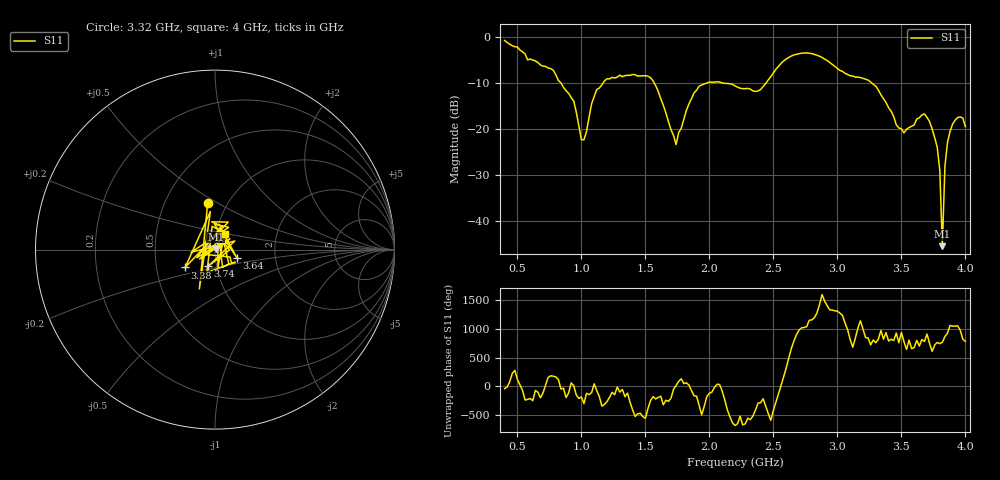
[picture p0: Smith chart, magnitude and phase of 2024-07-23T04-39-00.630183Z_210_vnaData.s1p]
!Created with skrf (http://scikit-rf.org).
# Hz S RI R 50.0
!freq ReS11 ImS11
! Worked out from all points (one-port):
!   181 points, 400 MHz to 4 GHz, reference 50 ohm
!   lowest |S11| = -45.4 dB at 3.82 GHz (marker M1), VSWR 1.01, Z = 50.4 + j0.374 ohm
!   |S11| at or under -10 dB: 1.569 GHz to 1.983 GHz (413.7 MHz wide, 23.3 % of centre); 2.1 GHz to 2.443 GHz (342.8 MHz wide, 15.1 % of centre); 3.268 GHz to end of sweep (the widest 3 of 4)
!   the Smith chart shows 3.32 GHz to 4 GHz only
!   S11 on the Smith chart (normalised r, x): 3.32 GHz: 0.81, +0.45; 3.38 GHz: 0.70, -0.14; 3.64 GHz: 1.27, -0.12; 3.74 GHz: 0.91, -0.17; 4 GHz: 1.10, +0.20
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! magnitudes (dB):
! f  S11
! 400 MHz  -0.8
! 860 MHz  -11.0
! 940 MHz  -13.9
! 1 GHz  -22.3
! 1.02 GHz  -22.3
! 1.12 GHz  -11.4
! 1.3 GHz  -8.3
! 1.54 GHz  -8.9
! 1.74 GHz  -23.4
! 1.76 GHz  -20.8
! 1.92 GHz  -10.7
! 2.2 GHz  -10.6
! 2.38 GHz  -11.7
! 2.66 GHz  -3.9
! 3.1 GHz  -8.4
! 3.32 GHz  -11.6
! 3.38 GHz  -14.3
! 3.48 GHz  -19.8
! 3.56 GHz  -19.7
! 3.64 GHz  -17.6
! 3.74 GHz  -20.0
! 3.78 GHz  -24.0
! 3.8 GHz  -29.0
! 3.82 GHz  -45.4
! 3.84 GHz  -28.2
! 3.86 GHz  -22.9
! 3.94 GHz  -17.5
! 4 GHz  -19.5
